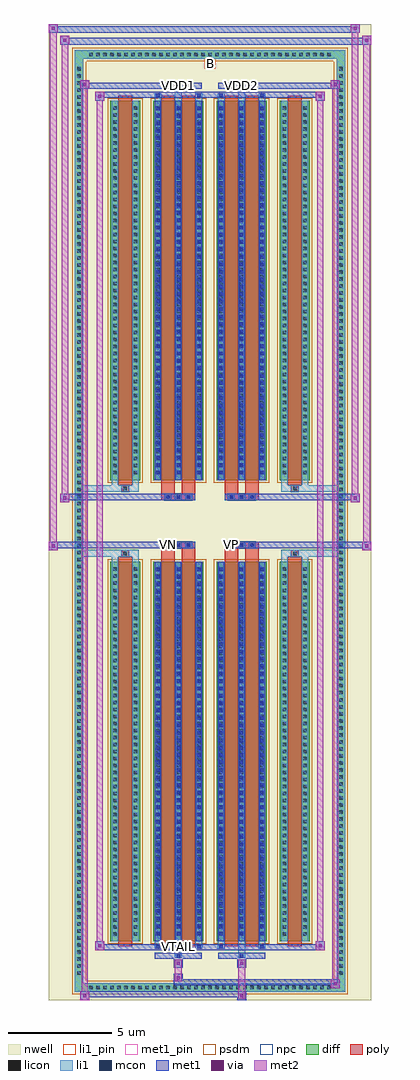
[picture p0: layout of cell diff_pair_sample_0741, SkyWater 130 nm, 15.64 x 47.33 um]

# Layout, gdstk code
import gdstk
lib = gdstk.Library(unit=1e-6, precision=5e-09)
def R(c, l, rs):  # rectangles x0, y0, x1, y1
    for r in rs: c.add(gdstk.rectangle(r[:2], r[2:], *l))
def A(c, l, x, y, w, h, nx, ny, dx, dy):  # array of equal rectangles
    R(c, l, [(x+i*dx, y+j*dy, x+i*dx+w, y+j*dy+h) for i in range(nx) for j in range(ny)])
def P(c, l, *ps):  # polygons
    for p in ps: c.add(gdstk.Polygon(p, *l))
nwell = (64, 20)
diff = (65, 20)
poly = (66, 20)
licon = (66, 44)
li1_pin = (67, 16)
li1 = (67, 20)
mcon = (67, 44)
met1_pin = (68, 16)
met1 = (68, 20)
via = (68, 44)
met2 = (69, 20)
psdm = (94, 20)
npc = (95, 20)

diff_pair_sample_0741 = lib.new_cell('diff_pair_sample_0741')
R(diff_pair_sample_0741, nwell, [(-7.82,-23.23,7.82,24.1), (-5.14,-21.42,-0.01,-0.8), (0.01,-21.42,5.14,-0.8), (-5.14,0.8,-0.01,21.42), (0.01,0.8,5.14,21.42)])
A(diff_pair_sample_0741, diff, -5.985, -22.83, 0.41, 0.41, 35, 2, 0.34, 45.25)
A(diff_pair_sample_0741, diff, -6.55, -22.135, 0.41, 0.41, 1, 130, 0, 0.34)
A(diff_pair_sample_0741, diff, 6.14, -22.135, 0.41, 0.41, 1, 130, 0, 0.34)
R(diff_pair_sample_0741, diff, [(-5.985,-22.83,5.985,-22.42), (-6.55,-22.135,-6.14,22.135), (6.14,-22.135,6.55,22.135), (-4.83,-20.375,-3.39,-1.985), (-2.75,-20.375,-0.32,-1.985), (0.32,-20.375,2.75,-1.985), (3.39,-20.375,4.83,-1.985), (-4.83,1.985,-3.39,20.375), (-2.75,1.985,-0.32,20.375), (0.32,1.985,2.75,20.375), (3.39,1.985,4.83,20.375), (-5.985,22.42,5.985,22.83)])
P(diff_pair_sample_0741, diff, [(6.55,22.83),(-6.55,22.83),(-6.55,-22.42),(-6.14,-22.42),(-6.14,22.42),(6.14,22.42),(6.14,-22.42),(-6.14,-22.42),(-6.55,-22.42),(-6.55,-22.83),(6.55,-22.83)])
A(diff_pair_sample_0741, poly, -2.2, -1.33, 0.33, 0.33, 3, 2, 0.5, 2.33)
A(diff_pair_sample_0741, poly, 0.87, -1.33, 0.33, 0.33, 3, 2, 0.5, 2.33)
R(diff_pair_sample_0741, poly, [(-4.44,-20.625,-3.78,-1.735), (-2.36,-20.625,-1.7,-1.735), (-1.37,-20.625,-0.71,-1.735), (0.71,-20.625,1.37,-1.735), (1.7,-20.625,2.36,-1.735), (3.78,-20.625,4.44,-1.735), (-4.275,-1.735,-3.945,-1.405), (-4.275,-1.735,-3.945,-1.405), (-2.36,-1.735,-1.7,-1.33), (-1.37,-1.735,-0.71,-1.33), (0.71,-1.735,1.37,-1.33), (1.7,-1.735,2.36,-1.33), (3.945,-1.735,4.275,-1.405), (3.945,-1.735,4.275,-1.405), (-2.36,-1.33,-0.71,-1), (0.71,-1.33,2.36,-1), (-2.36,1,-0.71,1.33), (0.71,1,2.36,1.33), (-2.36,1.33,-1.7,1.735), (-1.37,1.33,-0.71,1.735), (0.71,1.33,1.37,1.735), (1.7,1.33,2.36,1.735), (-4.275,1.405,-3.945,1.735), (-4.275,1.405,-3.945,1.735), (3.945,1.405,4.275,1.735), (3.945,1.405,4.275,1.735), (-4.44,1.735,-3.78,20.625), (-2.36,1.735,-1.7,20.625), (-1.37,1.735,-0.71,20.625), (0.71,1.735,1.37,20.625), (1.7,1.735,2.36,20.625), (3.78,1.735,4.44,20.625)])
A(diff_pair_sample_0741, licon, -5.865, -22.71, 0.17, 0.17, 35, 2, 0.34, 45.25)
A(diff_pair_sample_0741, licon, -6.43, -22.015, 0.17, 0.17, 1, 130, 0, 0.34)
A(diff_pair_sample_0741, licon, 6.26, -22.015, 0.17, 0.17, 1, 130, 0, 0.34)
A(diff_pair_sample_0741, licon, -4.69, -20.105, 0.17, 0.17, 1, 53, 0, 0.34)
A(diff_pair_sample_0741, licon, -3.7, -20.105, 0.17, 0.17, 1, 53, 0, 0.34)
A(diff_pair_sample_0741, licon, -2.61, -20.105, 0.17, 0.17, 3, 53, 0.99, 0.34)
A(diff_pair_sample_0741, licon, 0.46, -20.105, 0.17, 0.17, 3, 53, 0.99, 0.34)
A(diff_pair_sample_0741, licon, 3.53, -20.105, 0.17, 0.17, 1, 53, 0, 0.34)
A(diff_pair_sample_0741, licon, 4.52, -20.105, 0.17, 0.17, 1, 53, 0, 0.34)
A(diff_pair_sample_0741, licon, -2.12, -1.25, 0.17, 0.17, 3, 2, 0.5, 2.33)
A(diff_pair_sample_0741, licon, 0.95, -1.25, 0.17, 0.17, 3, 2, 0.5, 2.33)
A(diff_pair_sample_0741, licon, -4.69, 2.255, 0.17, 0.17, 1, 53, 0, 0.34)
A(diff_pair_sample_0741, licon, -3.7, 2.255, 0.17, 0.17, 1, 53, 0, 0.34)
A(diff_pair_sample_0741, licon, -2.61, 2.255, 0.17, 0.17, 3, 53, 0.99, 0.34)
A(diff_pair_sample_0741, licon, 0.46, 2.255, 0.17, 0.17, 3, 53, 0.99, 0.34)
A(diff_pair_sample_0741, licon, 3.53, 2.255, 0.17, 0.17, 1, 53, 0, 0.34)
A(diff_pair_sample_0741, licon, 4.52, 2.255, 0.17, 0.17, 1, 53, 0, 0.34)
R(diff_pair_sample_0741, licon, [(-4.195,-1.655,-4.025,-1.485), (4.025,-1.655,4.195,-1.485), (-4.195,1.485,-4.025,1.655), (4.025,1.485,4.195,1.655)])
R(diff_pair_sample_0741, li1_pin, [(-0.25,21.92,0.25,22.42)])
A(diff_pair_sample_0741, li1, -5.945, -22.79, 0.33, 0.33, 35, 2, 0.34, 45.25)
A(diff_pair_sample_0741, li1, -6.51, -22.095, 0.33, 0.33, 1, 130, 0, 0.34)
A(diff_pair_sample_0741, li1, 6.18, -22.095, 0.33, 0.33, 1, 130, 0, 0.34)
A(diff_pair_sample_0741, li1, -2.69, -20.375, 0.33, 18.39, 3, 2, 0.99, 22.36)
A(diff_pair_sample_0741, li1, 0.38, -20.375, 0.33, 18.39, 3, 2, 0.99, 22.36)
A(diff_pair_sample_0741, li1, -4.77, -20.185, 0.33, 0.33, 1, 53, 0, 0.34)
A(diff_pair_sample_0741, li1, -3.78, -20.185, 0.33, 0.33, 1, 53, 0, 0.34)
A(diff_pair_sample_0741, li1, -2.69, -20.185, 0.33, 0.33, 3, 53, 0.99, 0.34)
A(diff_pair_sample_0741, li1, 0.38, -20.185, 0.33, 0.33, 3, 53, 0.99, 0.34)
A(diff_pair_sample_0741, li1, 3.45, -20.185, 0.33, 0.33, 1, 53, 0, 0.34)
A(diff_pair_sample_0741, li1, 4.44, -20.185, 0.33, 0.33, 1, 53, 0, 0.34)
A(diff_pair_sample_0741, li1, -2.61, -20.085, 0.17, 0.17, 3, 50, 0.99, 0.36)
A(diff_pair_sample_0741, li1, -2.61, -20.085, 0.17, 17.81, 3, 2, 0.99, 22.36)
A(diff_pair_sample_0741, li1, 0.46, -20.085, 0.17, 0.17, 3, 50, 0.99, 0.36)
A(diff_pair_sample_0741, li1, 0.46, -20.085, 0.17, 17.81, 3, 2, 0.99, 22.36)
A(diff_pair_sample_0741, li1, -2.2, -1.33, 0.33, 0.33, 3, 2, 0.5, 2.33)
A(diff_pair_sample_0741, li1, 0.87, -1.33, 0.33, 0.33, 3, 2, 0.5, 2.33)
A(diff_pair_sample_0741, li1, -4.77, 2.175, 0.33, 0.33, 1, 53, 0, 0.34)
A(diff_pair_sample_0741, li1, -3.78, 2.175, 0.33, 0.33, 1, 53, 0, 0.34)
A(diff_pair_sample_0741, li1, -2.69, 2.175, 0.33, 0.33, 3, 53, 0.99, 0.34)
A(diff_pair_sample_0741, li1, 0.38, 2.175, 0.33, 0.33, 3, 53, 0.99, 0.34)
A(diff_pair_sample_0741, li1, 3.45, 2.175, 0.33, 0.33, 1, 53, 0, 0.34)
A(diff_pair_sample_0741, li1, 4.44, 2.175, 0.33, 0.33, 1, 53, 0, 0.34)
A(diff_pair_sample_0741, li1, -2.61, 2.275, 0.17, 0.17, 3, 50, 0.99, 0.36)
A(diff_pair_sample_0741, li1, 0.46, 2.275, 0.17, 0.17, 3, 50, 0.99, 0.36)
R(diff_pair_sample_0741, li1, [(-6.55,-22.83,-6.14,-22.42), (-6.55,-22.83,-6.14,-22.42), (-6.14,-22.83,6.14,-22.42), (6.14,-22.83,6.55,-22.42), (6.14,-22.83,6.55,-22.42), (-6.55,-22.42,-6.14,22.42), (6.14,-22.42,6.55,22.42), (-1.7,-21.18,-1.37,-20.375), (-1.62,-21.18,-1.45,-21.01), (1.37,-21.18,1.7,-20.375), (1.45,-21.18,1.62,-21.01), (-2.69,-20.75,-2.36,-20.375), (-2.61,-20.75,-2.44,-20.58), (-0.71,-20.75,-0.38,-20.375), (-0.63,-20.75,-0.46,-20.58), (0.38,-20.75,0.71,-20.375), (0.46,-20.75,0.63,-20.58), (2.36,-20.75,2.69,-20.375), (2.44,-20.75,2.61,-20.58), (-4.77,-20.375,-4.44,-1.985), (-3.78,-20.375,-3.45,-1.985), (3.45,-20.375,3.78,-1.985), (4.44,-20.375,4.77,-1.985), (-4.77,-1.985,-4.44,-1.405), (-3.78,-1.985,-3.45,-1.405), (3.45,-1.985,3.78,-1.405), (4.44,-1.985,4.77,-1.405), (-6.55,-1.735,-4.275,-1.405), (-4.77,-1.735,-4.275,-1.405), (-4.275,-1.735,-3.945,-1.405), (-3.945,-1.735,-3.45,-1.405), (3.45,-1.735,3.945,-1.405), (3.945,-1.735,4.275,-1.405), (3.945,-1.735,6.55,-1.405), (4.275,-1.735,4.77,-1.405), (-6.55,1.405,-4.275,1.735), (-4.77,1.405,-4.275,1.735), (-4.77,1.405,-4.44,1.985), (-4.275,1.405,-3.945,1.735), (-3.945,1.405,-3.45,1.735), (-3.78,1.405,-3.45,1.985), (3.45,1.405,3.945,1.735), (3.45,1.405,3.78,1.985), (3.945,1.405,4.275,1.735), (3.945,1.405,6.55,1.735), (4.275,1.405,4.77,1.735), (4.44,1.405,4.77,1.985), (-4.77,1.985,-4.44,20.375), (-3.78,1.985,-3.45,20.375), (3.45,1.985,3.78,20.375), (4.44,1.985,4.77,20.375), (-2.69,20.375,-2.36,20.75), (-1.7,20.375,-1.37,21.18), (-0.71,20.375,-0.38,20.75), (0.38,20.375,0.71,20.75), (1.37,20.375,1.7,21.18), (2.36,20.375,2.69,20.75), (-2.61,20.58,-2.44,20.75), (-0.63,20.58,-0.46,20.75), (0.46,20.58,0.63,20.75), (2.44,20.58,2.61,20.75), (-1.62,21.01,-1.45,21.18), (1.45,21.01,1.62,21.18), (-6.55,22.42,-6.14,22.83), (-6.55,22.42,-6.14,22.83), (-6.14,22.42,6.14,22.83), (6.14,22.42,6.55,22.83), (6.14,22.42,6.55,22.83)])
A(diff_pair_sample_0741, mcon, -2.61, -20.085, 0.17, 0.17, 3, 50, 0.99, 0.36)
A(diff_pair_sample_0741, mcon, 0.46, -20.085, 0.17, 0.17, 3, 50, 0.99, 0.36)
A(diff_pair_sample_0741, mcon, -2.12, -1.25, 0.17, 0.17, 3, 2, 0.5, 2.33)
A(diff_pair_sample_0741, mcon, 0.95, -1.25, 0.17, 0.17, 3, 2, 0.5, 2.33)
A(diff_pair_sample_0741, mcon, -2.61, 2.275, 0.17, 0.17, 3, 50, 0.99, 0.36)
A(diff_pair_sample_0741, mcon, 0.46, 2.275, 0.17, 0.17, 3, 50, 0.99, 0.36)
R(diff_pair_sample_0741, mcon, [(-1.62,-21.18,-1.45,-21.01), (1.45,-21.18,1.62,-21.01), (-2.61,-20.75,-2.44,-20.58), (-0.63,-20.75,-0.46,-20.58), (0.46,-20.75,0.63,-20.58), (2.44,-20.75,2.61,-20.58), (-2.61,20.58,-2.44,20.75), (-0.63,20.58,-0.46,20.75), (0.46,20.58,0.63,20.75), (2.44,20.58,2.61,20.75), (-1.62,21.01,-1.45,21.18), (1.45,21.01,1.62,21.18)])
R(diff_pair_sample_0741, met1_pin, [(-1.67,-20.79,-1.4,-20.52), (-2.17,-1.29,-1.9,-1.02), (0.9,-1.29,1.17,-1.02), (-1.67,20.97,-1.4,21.24), (1.4,20.97,1.67,21.24)])
A(diff_pair_sample_0741, met1, -2.67, -20.375, 0.29, 18.39, 3, 2, 0.99, 22.36)
A(diff_pair_sample_0741, met1, 0.4, -20.375, 0.29, 18.39, 3, 2, 0.99, 22.36)
A(diff_pair_sample_0741, met1, -2.67, -20.145, 0.29, 0.29, 3, 50, 0.99, 0.36)
A(diff_pair_sample_0741, met1, 0.4, -20.145, 0.29, 0.29, 3, 50, 0.99, 0.36)
A(diff_pair_sample_0741, met1, -2.18, -1.31, 0.29, 0.29, 3, 2, 0.5, 2.33)
A(diff_pair_sample_0741, met1, 0.89, -1.31, 0.29, 0.29, 3, 2, 0.5, 2.33)
A(diff_pair_sample_0741, met1, -2.67, 2.215, 0.29, 0.29, 3, 50, 0.99, 0.36)
A(diff_pair_sample_0741, met1, 0.4, 2.215, 0.29, 0.29, 3, 50, 0.99, 0.36)
R(diff_pair_sample_0741, met1, [(-6.28,-23.23,-5.85,-22.8), (1.32,-23.23,1.75,-22.8), (-6.28,-23.09,1.75,-22.8), (5.85,-22.66,6.28,-22.23), (-1.75,-22.52,6.28,-22.23), (-1.75,-22.38,-1.32,-21.95), (-1.75,-21.67,-1.32,-21.24), (1.32,-21.67,1.75,-21.24), (-2.67,-21.24,-0.4,-20.95), (-1.68,-21.24,-1.39,-20.95), (0.4,-21.24,2.67,-20.95), (1.39,-21.24,1.68,-20.95), (-5.57,-20.81,-5.14,-20.38), (-5.57,-20.81,-2.67,-20.52), (-2.67,-20.81,-2.38,-20.52), (-2.67,-20.81,-0.4,-20.52), (-0.69,-20.81,-0.4,-20.52), (-0.4,-20.81,0.4,-20.52), (0.4,-20.81,0.69,-20.52), (0.4,-20.81,2.67,-20.52), (2.38,-20.81,2.67,-20.52), (2.67,-20.81,5.57,-20.52), (5.14,-20.81,5.57,-20.38), (-7.82,-1.43,-7.39,-1), (7.39,-1.43,7.82,-1), (-7.82,-1.33,-0.71,-1), (-2.36,-1.33,-0.71,-1), (0.71,-1.33,2.36,-1), (0.71,-1.33,7.82,-1), (-7.25,0.9,-6.82,1.33), (6.82,0.9,7.25,1.33), (-7.25,1,-2.36,1.33), (-2.36,1,-0.71,1.33), (0.71,1,2.36,1.33), (2.36,1,7.25,1.33), (-5.57,20.38,-5.14,20.81), (5.14,20.38,5.57,20.81), (-5.57,20.52,-2.67,20.81), (-2.67,20.52,-2.38,20.81), (-2.67,20.52,-0.4,20.81), (-0.69,20.52,-0.4,20.81), (-0.4,20.52,0.4,20.81), (0.4,20.52,0.69,20.81), (0.4,20.52,2.67,20.81), (2.38,20.52,2.67,20.81), (2.67,20.52,5.57,20.81), (-6.28,20.95,-5.85,21.38), (-6.28,20.95,-2.67,21.24), (-2.67,20.95,-0.4,21.24), (-1.68,20.95,-1.39,21.24), (0.4,20.95,2.67,21.24), (1.39,20.95,1.68,21.24), (2.67,20.95,6.28,21.24), (5.85,20.95,6.28,21.38), (-7.25,23.1,-6.82,23.53), (-7.25,23.1,-5.14,23.43), (-5.14,23.1,5.14,23.43), (5.14,23.1,7.82,23.43), (7.39,23.1,7.82,23.53), (-7.82,23.67,-7.39,24.1), (-7.82,23.67,-5.14,24), (-5.14,23.67,5.14,24), (5.14,23.67,7.25,24), (6.82,23.67,7.25,24.1)])
R(diff_pair_sample_0741, via, [(-6.14,-23.09,-5.99,-22.94), (1.46,-23.09,1.61,-22.94), (5.99,-22.52,6.14,-22.37), (-1.61,-22.24,-1.46,-22.09), (-1.61,-21.53,-1.46,-21.38), (1.46,-21.53,1.61,-21.38), (-5.43,-20.67,-5.28,-20.52), (5.28,-20.67,5.43,-20.52), (-7.68,-1.29,-7.53,-1.14), (7.53,-1.29,7.68,-1.14), (-7.11,1.04,-6.96,1.19), (6.96,1.04,7.11,1.19), (-5.43,20.52,-5.28,20.67), (5.28,20.52,5.43,20.67), (-6.14,21.09,-5.99,21.24), (5.99,21.09,6.14,21.24), (-7.11,23.24,-6.96,23.39), (7.53,23.24,7.68,23.39), (-7.68,23.81,-7.53,23.96), (6.96,23.81,7.11,23.96)])
R(diff_pair_sample_0741, met2, [(-6.28,-23.23,-5.85,-22.8), (-6.21,-23.23,-5.92,21.38), (-5.92,-23.23,-5.85,-22.8), (-6.23,-23.18,-5.9,-22.85), (1.37,-23.18,1.7,-22.85), (1.37,-22.85,1.7,-21.62), (5.85,-22.66,6.28,-22.23), (5.92,-22.66,6.21,21.38), (6.21,-22.66,6.28,-22.23), (5.9,-22.61,6.23,-22.28), (-1.7,-22.33,-1.37,-22), (-1.7,-22,-1.37,-21.62), (-1.7,-21.62,-1.37,-21.29), (1.37,-21.62,1.7,-21.29), (-5.57,-20.81,-5.14,-20.38), (-5.5,-20.81,-5.21,20.81), (-5.21,-20.81,-5.14,-20.38), (5.14,-20.81,5.57,-20.38), (5.21,-20.81,5.5,20.81), (5.5,-20.81,5.57,-20.38), (-5.52,-20.76,-5.19,-20.43), (5.19,-20.76,5.52,-20.43), (-7.82,-1.43,-7.39,-1), (-7.77,-1.43,-7.44,24.1), (-7.44,-1.43,-7.39,-1), (7.39,-1.43,7.82,-1), (7.44,-1.43,7.77,23.53), (7.77,-1.43,7.82,-1), (-7.77,-1.38,-7.44,-1.05), (7.44,-1.38,7.77,-1.05), (-7.25,0.9,-6.82,1.33), (-7.2,0.9,-6.87,23.53), (-6.87,0.9,-6.82,1.33), (6.82,0.9,7.25,1.33), (6.87,0.9,7.2,24.1), (7.2,0.9,7.25,1.33), (-7.2,0.95,-6.87,1.28), (6.87,0.95,7.2,1.28), (-5.57,20.38,-5.14,20.81), (-5.21,20.38,-5.14,20.81), (5.14,20.38,5.57,20.81), (5.5,20.38,5.57,20.81), (-5.52,20.43,-5.19,20.76), (5.19,20.43,5.52,20.76), (-6.28,20.95,-5.85,21.38), (-5.92,20.95,-5.85,21.38), (5.85,20.95,6.28,21.38), (6.21,20.95,6.28,21.38), (-6.23,21,-5.9,21.33), (5.9,21,6.23,21.33), (-7.25,23.1,-6.82,23.53), (-6.87,23.1,-6.82,23.53), (7.39,23.1,7.82,23.53), (7.77,23.1,7.82,23.53), (-7.2,23.15,-6.87,23.48), (7.44,23.15,7.77,23.48), (-7.82,23.67,-7.39,24.1), (-7.44,23.67,-7.39,24.1), (6.82,23.67,7.25,24.1), (7.2,23.67,7.25,24.1), (-7.77,23.72,-7.44,24.05), (6.87,23.72,7.2,24.05)])
R(diff_pair_sample_0741, psdm, [(-4.96,-20.505,-3.26,-1.855), (-2.88,-20.505,-0.19,-1.855), (0.19,-20.505,2.88,-1.855), (3.26,-20.505,4.96,-1.855), (-4.96,1.855,-3.26,20.505), (-2.88,1.855,-0.19,20.505), (0.19,1.855,2.88,20.505), (3.26,1.855,4.96,20.505)])
P(diff_pair_sample_0741, psdm, [(6.68,22.96),(-6.68,22.96),(-6.68,-22.29),(-6.01,-22.29),(-6.01,22.29),(6.01,22.29),(6.01,-22.29),(-6.01,-22.29),(-6.68,-22.29),(-6.68,-22.96),(6.68,-22.96)])
A(diff_pair_sample_0741, npc, -2.22, -1.35, 0.37, 0.37, 3, 2, 0.5, 2.33)
A(diff_pair_sample_0741, npc, 0.85, -1.35, 0.37, 0.37, 3, 2, 0.5, 2.33)
R(diff_pair_sample_0741, npc, [(-4.295,-1.755,-3.925,-1.385), (3.925,-1.755,4.295,-1.385), (-2.22,-1.35,-1.35,-0.98), (-2.22,-1.35,-1.35,-0.98), (-1.72,-1.35,-0.85,-0.98), (-1.72,-1.35,-0.85,-0.98), (0.85,-1.35,1.72,-0.98), (0.85,-1.35,1.72,-0.98), (1.35,-1.35,2.22,-0.98), (1.35,-1.35,2.22,-0.98), (-2.22,0.98,-1.35,1.35), (-2.22,0.98,-1.35,1.35), (-1.72,0.98,-0.85,1.35), (-1.72,0.98,-0.85,1.35), (0.85,0.98,1.72,1.35), (0.85,0.98,1.72,1.35), (1.35,0.98,2.22,1.35), (1.35,0.98,2.22,1.35), (-4.295,1.385,-3.925,1.755), (3.925,1.385,4.295,1.755)])
diff_pair_sample_0741.add(gdstk.Label('VTAIL', (-1.535,-20.655), layer=68, texttype=5))
diff_pair_sample_0741.add(gdstk.Label('VN', (-2.035,-1.155), layer=68, texttype=5))
diff_pair_sample_0741.add(gdstk.Label('VP', (1.035,-1.155), layer=68, texttype=5))
diff_pair_sample_0741.add(gdstk.Label('B', (0,22.17), layer=67, texttype=5))
diff_pair_sample_0741.add(gdstk.Label('VDD2', (1.535,21.105), layer=68, texttype=5))
diff_pair_sample_0741.add(gdstk.Label('VDD1', (-1.535,21.105), layer=68, texttype=5))

lib.write_gds('diff_pair_sample_0741.gds')
